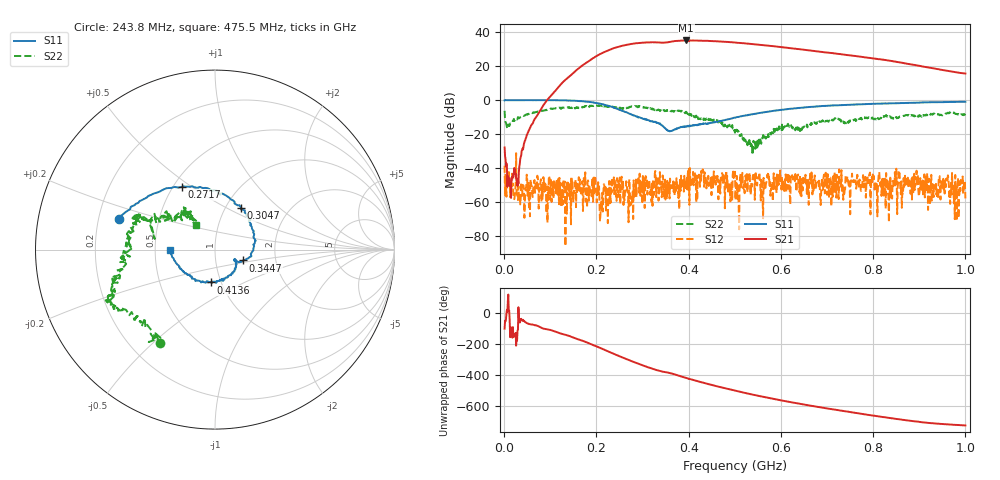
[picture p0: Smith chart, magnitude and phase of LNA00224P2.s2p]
! Created with skrf 1.9.0 (http://scikit-rf.org).
# Hz S RI R 50.0
!freq ReS11 ImS11 ReS21 ImS21 ReS12 ImS12 ReS22 ImS22
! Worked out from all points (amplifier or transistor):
!   1001 points, 1 MHz to 1 GHz, reference 50 ohm
!   highest |S21| = 35.1 dB at 394.6 MHz (marker M1)
!   |S21| within 3 dB of that: 257.5 MHz to 570.6 MHz (313.1 MHz wide, 75.6 % of centre)
!   unconditionally stable (mu >= 1): 3.063 MHz to 98.37 MHz; 203.9 MHz to 293.6 MHz; 402.7 MHz to end of sweep (the widest 3 of 30)
!   at 166.8 MHz: K = 2.22, MAG = 31.7 dB, |S12| = -56.2 dB
!   at 500.5 MHz: K = 1.35, MAG = 34.5 dB, |S12| = -42.2 dB
!   at 1 GHz: K = 11.21, MAG = 23.3 dB, |S12| = -57.9 dB
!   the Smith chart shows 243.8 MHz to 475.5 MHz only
!   S11 on the Smith chart (normalised r, x): 243.8 MHz: 0.29, +0.14; 271.7 MHz: 0.55, +0.46; 304.7 MHz: 1.18, +0.59; 344.7 MHz: 1.36, -0.17; 413.6 MHz: 0.90, -0.34; 475.5 MHz: 0.60, -0.00
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1000000  0.9821 0.00505  -0.00743 -0.0397  -0.0106 0.00486  0.3301 0.3533
1.08892e8  0.5148 -0.8467  -0.8163 -1.549  0.000161 0.00457  0.4243 -0.3699
1.67833e8  -0.2449 -0.8922  -10.02 -0.5587  -0.00131 -0.00187  0.0366 -0.6263
2.09791e8  -0.6775 -0.3734  -15.74 17.07  -0.000479 0.000713  -0.201 -0.6561
2.43757e8  -0.535 0.172  0.9788 35.87  -0.00089 0.000606  -0.3089 -0.5197
2.71729e8  -0.1837 0.3499  25.62 35.72  0.00468 -0.00018  -0.513 -0.3371
3.04696e8  0.1454 0.2326  47.21 14.59  -0.000205 0.000633  -0.5641 -0.2019
3.34666e8  0.2057 -0.0134  48.64 -10.2  -0.000966 0.000511  -0.5256 -0.0443
3.44656e8  0.1571 -0.0606  45.94 -16.12  -0.00465 -0.000775  -0.4801 0.0369
3.68632e8  0.1178 -0.0626  44.32 -31.29  -0.00291 -0.00239  -0.4354 0.1422
3.94606e8  0.0719 -0.1533  29.14 -48.86  -0.000148 0.00221  -0.419 0.1751
4.13587e8  -0.0218 -0.1829  14.2 -54.59  0.00522 0.00527  -0.2609 0.1674
4.43557e8  -0.1543 -0.1364  -8.928 -54.22  0.00209 0.00207  -0.1647 0.2289
4.75525e8  -0.2529 -0.00173  -28.85 -43.71  0.00639 -0.00231  -0.1033 0.1345
5.005e8  -0.2725 0.1354  -38.72 -31.08  0.00746 -0.00217  -0.0773 0.0772
5.39461e8  -0.1961 0.3301  -43.29 -9.783  0.00557 -0.00276  -0.0253 0.0354
5.85415e8  -0.00472 0.4846  -37 10.31  0.00197 -0.00147  -0.1146 -0.0451
6.25375e8  0.1857 0.5322  -26.11 20.28  0.00231 -0.00507  -0.1197 -0.1102
6.67333e8  0.3926 0.499  -14.1 24.46  -0.000228 -0.00614  -0.1994 -0.0582
7.53247e8  0.6733 0.2853  3.863 20.04  -0.0029 -0.00302  -0.241 0.00452
8.34166e8  0.7968 0.02  10.64 9.915  0.000227 0.000106  -0.3284 -0.0161
1e9  0.7275 -0.5197  6.005 -0.625  0.00126 -0.000195  -0.2888 0.265
